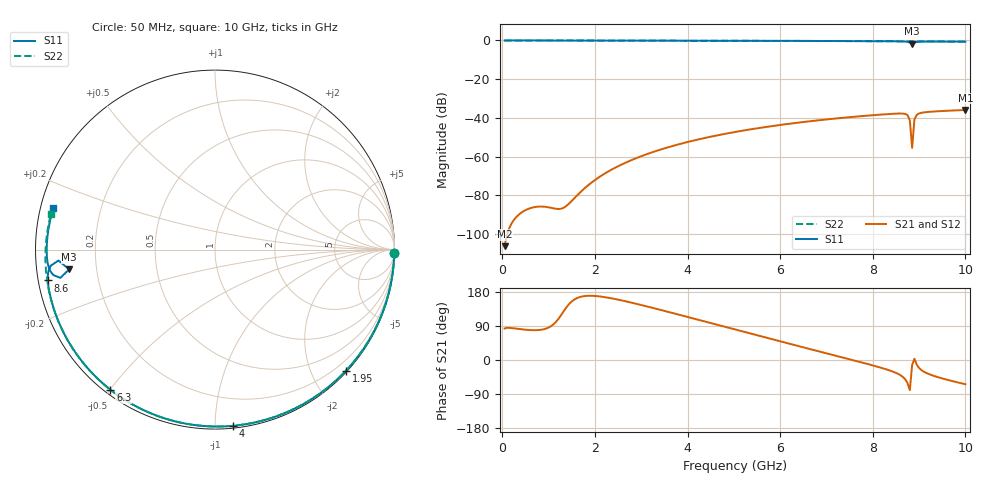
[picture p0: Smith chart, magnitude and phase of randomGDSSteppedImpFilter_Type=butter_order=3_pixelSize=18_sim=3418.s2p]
! freq	dB(S11)	phase(S11)	dB(S12)	phase(S12)
!  dB(S21)	phase(S21)	dB(S22)	phase(S22)
!S-par simulation data
#  GHz  S  DB  R 50
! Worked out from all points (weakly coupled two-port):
!   200 points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, 50 MHz to 10 GHz, reference 50 ohm
!   highest |S21| = -35.95 dB at 10 GHz (marker M1); lowest = -106.3 dB at 50 MHz (marker M2)
!   lowest |S11| = -1.7 dB at 8.85 GHz (marker M3), VSWR 10.13, Z = 4.96 - j3.34 ohm
!   |S11| at or under -10 dB: nowhere
!   |S22| runs from -0.6 to 0.0 dB; largest |S21 - S12| = 0
!   S11 on the Smith chart (normalised r, x): 50 MHz: open; 1.95 GHz: 0.02, -2.55; 4 GHz: 0.01, -1.10; 6.3 GHz: 0.02, -0.50; 8.6 GHz: 0.03, -0.09; 10 GHz: 0.04, +0.13
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0.05  -0.01 -1.1  -106.35 83.1  -106.35 83.1  -0.00 -1.1
0.8  -0.02 -17.8  -85.88 79.2  -85.88 79.2  -0.02 -18.2
1.6  -0.04 -35.3  -80.48 162.6  -80.48 162.6  -0.05 -36.0
1.75  -0.05 -38.5  -77.01 168.2  -77.01 168.2  -0.05 -39.3
1.95  -0.05 -42.8  -73.04 169.3  -73.04 169.3  -0.06 -43.6
2.25  -0.06 -49.1  -68.27 165.1  -68.27 165.1  -0.06 -50.1
2.6  -0.07 -56.4  -63.87 156.7  -63.87 156.7  -0.07 -57.4
3.4  -0.09 -72.6  -56.53 132.8  -56.53 132.8  -0.10 -73.8
4  -0.11 -84.3  -52.50 113.6  -52.50 113.6  -0.12 -85.6
5.05  -0.16 -104.1  -47.22 79.6  -47.22 79.6  -0.16 -105.3
6.3  -0.23 -126.7  -42.75 39.7  -42.75 39.7  -0.23 -127.6
6.7  -0.26 -133.9  -41.61 27.1  -41.61 27.1  -0.26 -134.5
7.55  -0.33 -149.1  -39.55 0.4  -39.55 0.4  -0.32 -149.1
8.35  -0.41 -164.1  -38.03 -27.0  -38.03 -27.0  -0.40 -162.9
8.6  -0.47 -169.6  -37.76 -40.3  -37.76 -40.3  -0.43 -167.2
8.75  -0.72 -174.4  -38.58 -60.9  -38.58 -60.9  -0.44 -169.8
8.8  -1.17 -176.0  -41.24 -79.5  -41.24 -79.5  -0.45 -170.7
8.85  -1.72 -172.3  -55.51 -12.8  -55.51 -12.8  -0.45 -171.5
8.9  -1.15 -169.6  -40.78 3.2  -40.78 3.2  -0.45 -172.4
8.95  -0.80 -171.1  -38.47 -12.3  -38.47 -12.3  -0.46 -173.3
9.15  -0.57 -176.7  -37.05 -33.9  -37.05 -33.9  -0.48 -176.9
10  -0.63 165.5  -35.95 -64.0  -35.95 -64.0  -0.58 167.7
